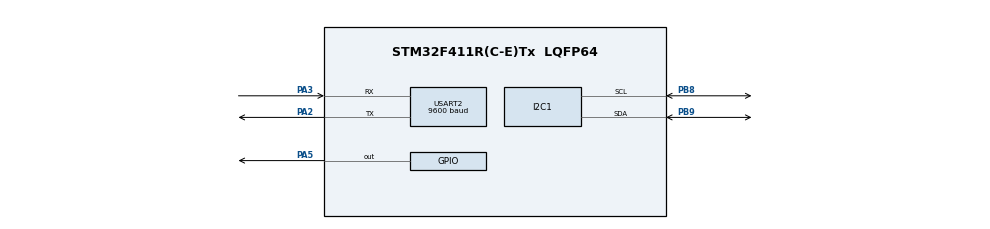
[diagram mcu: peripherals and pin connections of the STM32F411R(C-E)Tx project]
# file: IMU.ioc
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I2C1.I2C_Mode=I2C_Standard
Mcu.Family=STM32F4
Mcu.Name=STM32F411R(C-E)Tx
Mcu.Package=LQFP64
NVIC.PriorityGroup=NVIC_PRIORITYGROUP_4
PA2.Mode=Asynchronous
PA2.Signal=USART2_TX
PA3.Mode=Asynchronous
PA3.Signal=USART2_RX
PA5.Signal=GPIO_Output
PB8.Mode=I2C
PB8.Signal=I2C1_SCL
PB9.Mode=I2C
PB9.Signal=I2C1_SDA
ProjectManager.HeapSize=0x200
ProjectManager.StackSize=0x400
ProjectManager.TargetToolchain=STM32CubeIDE
RCC.48MHZClocksFreq_Value=48000000
RCC.AHBFreq_Value=16000000
RCC.APB1Freq_Value=16000000
RCC.APB1TimFreq_Value=16000000
RCC.APB2Freq_Value=16000000
RCC.APB2TimFreq_Value=16000000
RCC.CortexFreq_Value=16000000
RCC.HCLKFreq_Value=16000000
RCC.HSE_VALUE=25000000
RCC.HSI_VALUE=16000000
RCC.LSE_VALUE=32768
RCC.SYSCLKFreq_VALUE=16000000
RCC.VCOOutputFreq_Value=192000000
TIM10.ClockDivision=TIM_CLOCKDIVISION_DIV1
TIM10.Prescaler=160-1
USART2.BaudRate=9600
USART2.VirtualMode=VM_ASYNC
VP_TIM10_VS_ClockSourceINT.Mode=Enable_Timer
board=custom

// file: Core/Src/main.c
/* USER CODE BEGIN Header */
/**
  ******************************************************************************
  * @file           : main.c
  * @brief          : Main program body
  ******************************************************************************
  * @attention
  *
  * <h2><center>&copy; Copyright (c) 2021 STMicroelectronics.
  * All rights reserved.</center></h2>
  *
  * This software component is licensed by ST under BSD 3-Clause license,
  * the "License"; You may not use this file except in compliance with the
  * License. You may obtain a copy of the License at:
  *                        opensource.org/licenses/BSD-3-Clause
  *
  ******************************************************************************
  */
/* USER CODE END Header */
#include "main.h"

/* USER CODE BEGIN Includes */
#include "icm_20948_controller.h"
#include "AHRS_algorithm.h"
/* USER CODE END Includes */

/* USER CODE BEGIN PM */

#ifdef __GNUC__
  /* With GCC, small printf (option LD Linker->Libraries->Small printf
     set to 'Yes') calls __io_putchar() */
  #define PUTCHAR_PROTOTYPE int __io_putchar(int ch)
#else
  #define PUTCHAR_PROTOTYPE int fputc(int ch, FILE *f)
#endif /* __GNUC__ */

/* USER CODE END PM */

void SystemClock_Config(void);
static void MX_GPIO_Init(void);
static void MX_I2C1_Init(void);
static void MX_USART2_UART_Init(void);
static void MX_TIM10_Init(void);
/* USER CODE BEGIN PFP */
static void USART2_Send_16(int16_t* data, int len);
/* USER CODE END PFP */

int main(void)
{
  /* USER CODE BEGIN 1 */

	float Quaternion[4] = {1.0, 0.0, 0.0, 0.0};

	int16_t Data[9] = {0};
	float Acc[3] = {0.0};
	float Gyr[3] = {0.0};
	float Mag[3] = {0.0};

  /* USER CODE END 1 */

  /* MCU Configuration--------------------------------------------------------*/

  /* Reset of all peripherals, Initializes the Flash interface and the Systick. */

  LL_APB2_GRP1_EnableClock(LL_APB2_GRP1_PERIPH_SYSCFG);
  LL_APB1_GRP1_EnableClock(LL_APB1_GRP1_PERIPH_PWR);

  NVIC_SetPriorityGrouping(NVIC_PRIORITYGROUP_4);

  /* System interrupt init*/

  /* Configure the system clock */
  SystemClock_Config();

  /* Initialize all configured peripherals */
  MX_GPIO_Init();
  MX_I2C1_Init();
  MX_USART2_UART_Init();
  MX_TIM10_Init();
  /* USER CODE BEGIN 2 */

  //IMU_Reset();
  IMU_Wake();
  IMU_Bypass();

  IMU_Bank(2);
  I2C1_Write(IMU, 0x14, 0x03); // +-4 g
  //I2C1_Write(IMU, 0x01, 0x03); // +-500 dps
  IMU_Bank(0);

  //LL_TIM_EnableCounter(TIM10);

  /* USER CODE END 2 */

  /* Infinite loop */
  /* USER CODE BEGIN WHILE */
  while (1)
  {

	//LL_mDelay(100);

	/*----------- read sensor data -----------*/
	Get_Sensor(Data);

	for (int i = 0; i < 3; i++) {
		Acc[i] = Data[i] / 8192.0;
	}
	for (int i = 0; i < 3; i++) {
		Gyr[i] = Data[i + 3] / 131.0;
		if (Gyr[i] < 5.0 && Gyr[i] > -5.0) {
			Gyr[i] = 0.0;
		}
	}
	for (int i = 0; i < 3; i++) {
		Mag[i] = Data[i + 6] * 0.15;
	}

	Update_Quaternion(Acc, Gyr, Mag, Quaternion, 1.0 / 900.0 , 0.1);

	printf("%f,%f,%f,%f\r\n", Quaternion[0], Quaternion[1], Quaternion[2], Quaternion[3]);
	//printf("%d,%f\n", i++, Acc[2]);

	LL_GPIO_TogglePin(GPIOA, LL_GPIO_PIN_5);

    /* USER CODE END WHILE */

  }
}

void SystemClock_Config(void)
{
  LL_FLASH_SetLatency(LL_FLASH_LATENCY_0);
  while(LL_FLASH_GetLatency()!= LL_FLASH_LATENCY_0)
  {
  }
  LL_PWR_SetRegulVoltageScaling(LL_PWR_REGU_VOLTAGE_SCALE1);
  LL_RCC_HSI_SetCalibTrimming(16);
  LL_RCC_HSI_Enable();

   /* Wait till HSI is ready */
  while(LL_RCC_HSI_IsReady() != 1)
  {

  }
  LL_RCC_SetAHBPrescaler(LL_RCC_SYSCLK_DIV_1);
  LL_RCC_SetAPB1Prescaler(LL_RCC_APB1_DIV_1);
  LL_RCC_SetAPB2Prescaler(LL_RCC_APB2_DIV_1);
  LL_RCC_SetSysClkSource(LL_RCC_SYS_CLKSOURCE_HSI);

   /* Wait till System clock is ready */
  while(LL_RCC_GetSysClkSource() != LL_RCC_SYS_CLKSOURCE_STATUS_HSI)
  {

  }
  LL_Init1msTick(16000000);
  LL_SetSystemCoreClock(16000000);
  LL_RCC_SetTIMPrescaler(LL_RCC_TIM_PRESCALER_TWICE);
}

static void MX_I2C1_Init(void)
{

  LL_I2C_InitTypeDef I2C_InitStruct = {0};

  LL_GPIO_InitTypeDef GPIO_InitStruct = {0};

  LL_AHB1_GRP1_EnableClock(LL_AHB1_GRP1_PERIPH_GPIOB);
  /**I2C1 GPIO Configuration
  PB8   ------> I2C1_SCL
  PB9   ------> I2C1_SDA
  */
  GPIO_InitStruct.Pin = LL_GPIO_PIN_8|LL_GPIO_PIN_9;
  GPIO_InitStruct.Mode = LL_GPIO_MODE_ALTERNATE;
  GPIO_InitStruct.Speed = LL_GPIO_SPEED_FREQ_VERY_HIGH;
  GPIO_InitStruct.OutputType = LL_GPIO_OUTPUT_OPENDRAIN;
  GPIO_InitStruct.Pull = LL_GPIO_PULL_UP;
  GPIO_InitStruct.Alternate = LL_GPIO_AF_4;
  LL_GPIO_Init(GPIOB, &GPIO_InitStruct);

  /* Peripheral clock enable */
  LL_APB1_GRP1_EnableClock(LL_APB1_GRP1_PERIPH_I2C1);

  /** I2C Initialization
  */
  LL_I2C_DisableOwnAddress2(I2C1);
  LL_I2C_DisableGeneralCall(I2C1);
  LL_I2C_EnableClockStretching(I2C1);
  I2C_InitStruct.PeripheralMode = LL_I2C_MODE_I2C;
  I2C_InitStruct.ClockSpeed = 100000;
  I2C_InitStruct.DutyCycle = LL_I2C_DUTYCYCLE_2;
  I2C_InitStruct.OwnAddress1 = 0;
  I2C_InitStruct.TypeAcknowledge = LL_I2C_ACK;
  I2C_InitStruct.OwnAddrSize = LL_I2C_OWNADDRESS1_7BIT;
  LL_I2C_Init(I2C1, &I2C_InitStruct);
  LL_I2C_SetOwnAddress2(I2C1, 0);

}

static void MX_TIM10_Init(void)
{

  LL_TIM_InitTypeDef TIM_InitStruct = {0};

  /* Peripheral clock enable */
  LL_APB2_GRP1_EnableClock(LL_APB2_GRP1_PERIPH_TIM10);

  TIM_InitStruct.Prescaler = 160-LL_TIM_IC_FILTER_FDIV1_N2;
  TIM_InitStruct.CounterMode = LL_TIM_COUNTERMODE_UP;
  TIM_InitStruct.Autoreload = 65535;
  TIM_InitStruct.ClockDivision = LL_TIM_CLOCKDIVISION_DIV1;
  LL_TIM_Init(TIM10, &TIM_InitStruct);
  LL_TIM_DisableARRPreload(TIM10);

}

static void MX_USART2_UART_Init(void)
{

  LL_USART_InitTypeDef USART_InitStruct = {0};

  LL_GPIO_InitTypeDef GPIO_InitStruct = {0};

  /* Peripheral clock enable */
  LL_APB1_GRP1_EnableClock(LL_APB1_GRP1_PERIPH_USART2);

  LL_AHB1_GRP1_EnableClock(LL_AHB1_GRP1_PERIPH_GPIOA);
  /**USART2 GPIO Configuration
  PA2   ------> USART2_TX
  PA3   ------> USART2_RX
  */
  GPIO_InitStruct.Pin = LL_GPIO_PIN_2|LL_GPIO_PIN_3;
  GPIO_InitStruct.Mode = LL_GPIO_MODE_ALTERNATE;
  GPIO_InitStruct.Speed = LL_GPIO_SPEED_FREQ_VERY_HIGH;
  GPIO_InitStruct.OutputType = LL_GPIO_OUTPUT_PUSHPULL;
  GPIO_InitStruct.Pull = LL_GPIO_PULL_NO;
  GPIO_InitStruct.Alternate = LL_GPIO_AF_7;
  LL_GPIO_Init(GPIOA, &GPIO_InitStruct);

  USART_InitStruct.BaudRate = 9600;
  USART_InitStruct.DataWidth = LL_USART_DATAWIDTH_8B;
  USART_InitStruct.StopBits = LL_USART_STOPBITS_1;
  USART_InitStruct.Parity = LL_USART_PARITY_NONE;
  USART_InitStruct.TransferDirection = LL_USART_DIRECTION_TX_RX;
  USART_InitStruct.HardwareFlowControl = LL_USART_HWCONTROL_NONE;
  USART_InitStruct.OverSampling = LL_USART_OVERSAMPLING_16;
  LL_USART_Init(USART2, &USART_InitStruct);
  LL_USART_ConfigAsyncMode(USART2);
  LL_USART_Enable(USART2);

}

static void MX_GPIO_Init(void)
{
  LL_GPIO_InitTypeDef GPIO_InitStruct = {0};

  /* GPIO Ports Clock Enable */
  LL_AHB1_GRP1_EnableClock(LL_AHB1_GRP1_PERIPH_GPIOA);
  LL_AHB1_GRP1_EnableClock(LL_AHB1_GRP1_PERIPH_GPIOB);

  /**/
  LL_GPIO_ResetOutputPin(GPIOA, LL_GPIO_PIN_5);

  /**/
  GPIO_InitStruct.Pin = LL_GPIO_PIN_5;
  GPIO_InitStruct.Mode = LL_GPIO_MODE_OUTPUT;
  GPIO_InitStruct.Speed = LL_GPIO_SPEED_FREQ_LOW;
  GPIO_InitStruct.OutputType = LL_GPIO_OUTPUT_PUSHPULL;
  GPIO_InitStruct.Pull = LL_GPIO_PULL_NO;
  LL_GPIO_Init(GPIOA, &GPIO_InitStruct);

}

/* USER CODE BEGIN 4 */

static void USART2_Send_16(int16_t* data, int len) {
	uint8_t high;
	uint8_t low;
	for (int i = 0; i < len; i++) {
		high = (data[i] & 0xF0) >> 8;
		low = data[i] & 0x0F;
		LL_USART_TransmitData8(USART2, high);
		while (!LL_USART_IsActiveFlag_TC(USART2));
		LL_USART_TransmitData8(USART2, low);
		while (!LL_USART_IsActiveFlag_TC(USART2));
	}
}

PUTCHAR_PROTOTYPE
{
  /* Place your implementation of fputc here */
  /* e.g. write a character to the EVAL_COM1 and Loop until the end of transmission */

	LL_USART_TransmitData8(USART2, ch);
	while (!LL_USART_IsActiveFlag_TC(USART2));

  return ch;
}

/* USER CODE END 4 */

void Error_Handler(void)
{
  __disable_irq();
  while (1)
  {
  }
}

/************************ (C) COPYRIGHT STMicroelectronics *****END OF FILE****/
